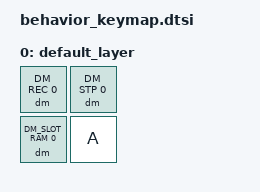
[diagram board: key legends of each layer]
#include <dt-bindings/zmk/keys.h>
#include <behaviors.dtsi>
#include <dt-bindings/zmk/kscan_mock.h>
#include <behaviors/dynamic_macro.dtsi>
#include <dt-bindings/zmk/dynamic_macros.h>

/ {
    keymap {
        compatible = "zmk,keymap";
        default_layer {
            bindings = <
                &dm DM_REC 0        &dm DM_STP 0
                &dm DM_SLOT_RAM 0   &kp A
            >;
        };
    };
};
